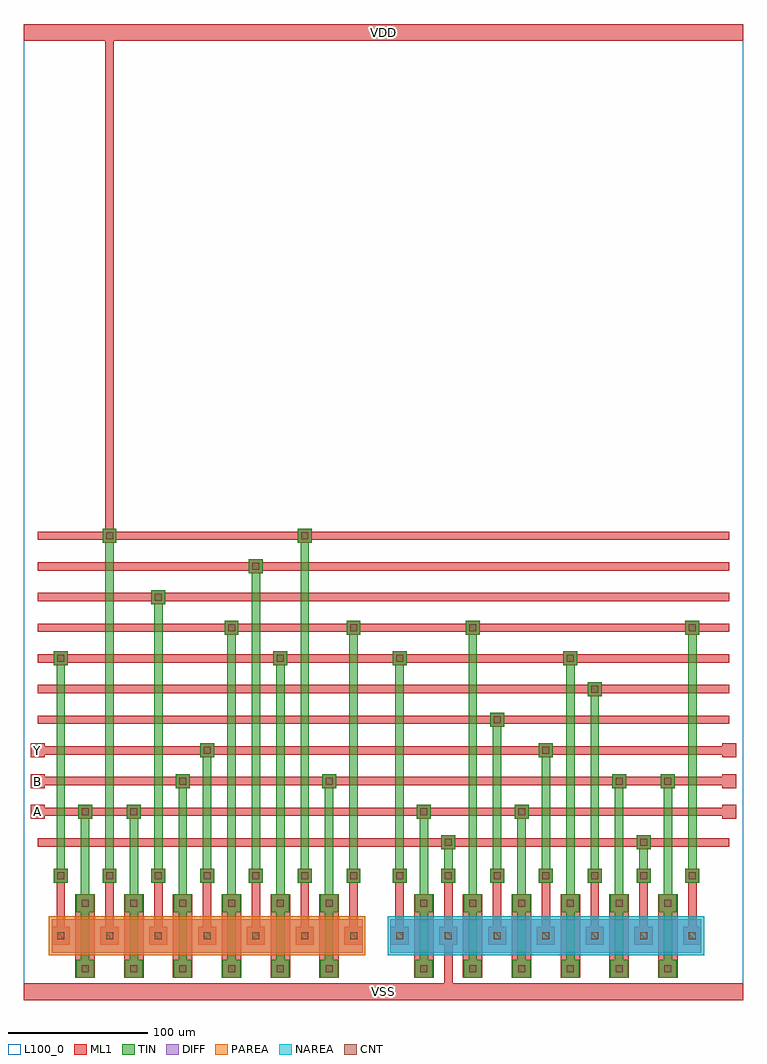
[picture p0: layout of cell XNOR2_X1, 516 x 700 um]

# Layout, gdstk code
import gdstk
lib = gdstk.Library(unit=1e-6, precision=1e-09)
def R(c, l, rs):  # rectangles x0, y0, x1, y1
    for r in rs: c.add(gdstk.rectangle(r[:2], r[2:], *l))
def A(c, l, x, y, w, h, nx, ny, dx, dy):  # array of equal rectangles
    R(c, l, [(x+i*dx, y+j*dy, x+i*dx+w, y+j*dy+h) for i in range(nx) for j in range(ny)])
DIFF = (3, 0)
TIN = (5, 0)
CNT = (7, 0)
ML1 = (8, 0)
PAREA = (18, 0)
NAREA = (19, 0)
L100_0 = (100, 0)

xnor2_x1 = lib.new_cell('XNOR2_X1')
R(xnor2_x1, DIFF, [(20,34,243,58), (263,34,486,58)])
A(xnor2_x1, TIN, 37.5, 16, 13, 13, 6, 2, 35, 47)
A(xnor2_x1, TIN, 280.5, 16, 13, 13, 6, 2, 35, 47)
A(xnor2_x1, TIN, 41, 28, 6, 37.5, 6, 1, 35, 0)
A(xnor2_x1, TIN, 284, 28, 6, 37.5, 6, 1, 35, 0)
A(xnor2_x1, TIN, 21.5, 84, 10, 10, 7, 1, 35, 0)
A(xnor2_x1, TIN, 264.5, 84, 10, 10, 7, 1, 35, 0)
R(xnor2_x1, TIN, [(41,69.5,47,135), (76,69.5,82,135), (111,69.5,117,157), (146,69.5,152,267), (181,69.5,187,245), (216,69.5,222,157), (284,69.5,290,135), (319,69.5,325,267), (354,69.5,360,135), (389,69.5,395,245), (424,69.5,430,157), (459,69.5,465,157), (23.5,89,29.5,245), (58.5,89,64.5,333), (93.5,89,99.5,289), (128.5,89,134.5,179), (163.5,89,169.5,311), (198.5,89,204.5,333), (233.5,89,239.5,267), (266.5,89,272.5,245), (301.5,89,307.5,113), (336.5,89,342.5,201), (371.5,89,377.5,179), (406.5,89,412.5,223), (441.5,89,447.5,113), (476.5,89,482.5,267), (299.5,108,309.5,118), (439.5,108,449.5,118), (39,130,49,140), (74,130,84,140), (282,130,292,140), (352,130,362,140), (109,152,119,162), (214,152,224,162), (422,152,432,162), (457,152,467,162), (126.5,174,136.5,184), (369.5,174,379.5,184), (334.5,196,344.5,206), (404.5,218,414.5,228), (21.5,240,31.5,250), (179,240,189,250), (264.5,240,274.5,250), (387,240,397,250), (144,262,154,272), (231.5,262,241.5,272), (317,262,327,272), (474.5,262,484.5,272), (91.5,284,101.5,294), (161.5,306,171.5,316), (56.5,328,66.5,338), (196.5,328,206.5,338)])
A(xnor2_x1, CNT, 41.5, 20, 5, 5, 6, 2, 35, 47)
A(xnor2_x1, CNT, 284.5, 20, 5, 5, 6, 2, 35, 47)
A(xnor2_x1, CNT, 24, 43.5, 5, 5, 7, 2, 35, 43)
A(xnor2_x1, CNT, 267, 43.5, 5, 5, 7, 2, 35, 43)
R(xnor2_x1, CNT, [(302,110.5,307,115.5), (442,110.5,447,115.5), (41.5,132.5,46.5,137.5), (76.5,132.5,81.5,137.5), (284.5,132.5,289.5,137.5), (354.5,132.5,359.5,137.5), (111.5,154.5,116.5,159.5), (216.5,154.5,221.5,159.5), (424.5,154.5,429.5,159.5), (459.5,154.5,464.5,159.5), (129,176.5,134,181.5), (372,176.5,377,181.5), (337,198.5,342,203.5), (407,220.5,412,225.5), (24,242.5,29,247.5), (181.5,242.5,186.5,247.5), (267,242.5,272,247.5), (389.5,242.5,394.5,247.5), (146.5,264.5,151.5,269.5), (234,264.5,239,269.5), (319.5,264.5,324.5,269.5), (477,264.5,482,269.5), (94,286.5,99,291.5), (164,308.5,169,313.5), (59,330.5,64,335.5), (199,330.5,204,335.5)])
A(xnor2_x1, ML1, 37, 16, 14, 60, 6, 1, 35, 0)
A(xnor2_x1, ML1, 37.5, 16, 13, 13, 6, 2, 35, 47)
A(xnor2_x1, ML1, 280, 16, 14, 60, 6, 1, 35, 0)
A(xnor2_x1, ML1, 280.5, 16, 13, 13, 6, 2, 35, 47)
A(xnor2_x1, ML1, 20, 39.5, 13, 13, 7, 1, 35, 0)
A(xnor2_x1, ML1, 263, 39.5, 13, 13, 7, 1, 35, 0)
A(xnor2_x1, ML1, 23.5, 46, 6, 43, 7, 1, 35, 0)
A(xnor2_x1, ML1, 266.5, 46, 6, 43, 7, 1, 35, 0)
A(xnor2_x1, ML1, 21.5, 84, 10, 10, 7, 1, 35, 0)
A(xnor2_x1, ML1, 264.5, 84, 10, 10, 7, 1, 35, 0)
A(xnor2_x1, ML1, 10, 110, 496, 6, 1, 11, 0, 22)
A(xnor2_x1, ML1, 5, 130, 10, 10, 1, 3, 0, 22)
A(xnor2_x1, ML1, 501, 130, 10, 10, 1, 3, 0, 22)
R(xnor2_x1, ML1, [(0,0,516,12), (301.5,3,307.5,92), (299.5,108,309.5,118), (439.5,108,449.5,118), (39,130,49,140), (74,130,84,140), (282,130,292,140), (352,130,362,140), (109,152,119,162), (214,152,224,162), (422,152,432,162), (457,152,467,162), (126.5,174,136.5,184), (369.5,174,379.5,184), (334.5,196,344.5,206), (404.5,218,414.5,228), (21.5,240,31.5,250), (179,240,189,250), (264.5,240,274.5,250), (387,240,397,250), (144,262,154,272), (231.5,262,241.5,272), (317,262,327,272), (474.5,262,484.5,272), (91.5,284,101.5,294), (161.5,306,171.5,316), (56.5,328,66.5,338), (196.5,328,206.5,338), (58.5,330,64.5,697), (0,688,516,700)])
R(xnor2_x1, PAREA, [(18,32,245,60)])
R(xnor2_x1, NAREA, [(261,32,488,60)])
R(xnor2_x1, L100_0, [(0,0,516,700)])
xnor2_x1.add(gdstk.Label('A', (10,135), layer=13, texttype=0))
xnor2_x1.add(gdstk.Label('B', (10,157), layer=13, texttype=0))
xnor2_x1.add(gdstk.Label('Y', (10,179), layer=13, texttype=0))
xnor2_x1.add(gdstk.Label('VDD', (258,694), layer=13, texttype=0))
xnor2_x1.add(gdstk.Label('VSS', (258,6), layer=13, texttype=0))

lib.write_gds('XNOR2_X1.gds')
